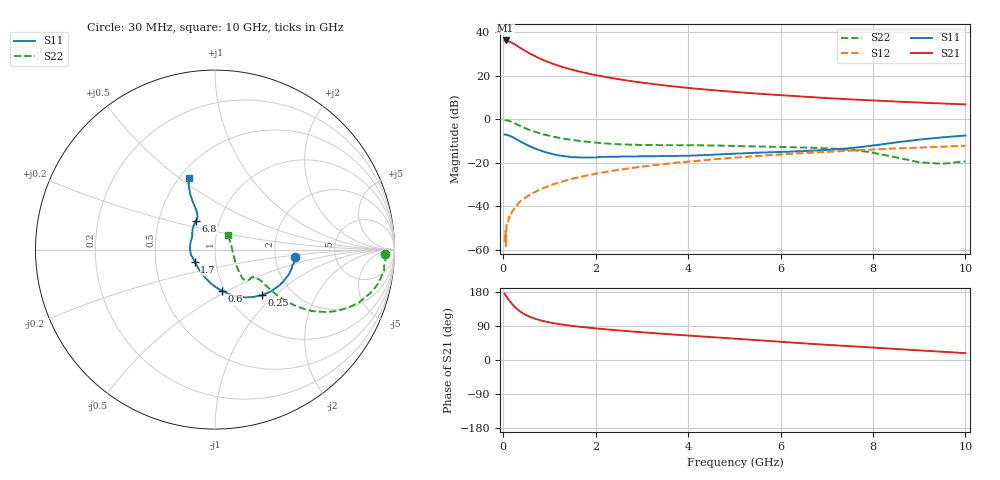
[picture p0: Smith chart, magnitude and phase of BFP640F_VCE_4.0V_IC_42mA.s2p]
! Infineon Technologies  Discrete & RF Semiconductors
! BFP640F
! VCE =  4.0 V,  IC =  42 mA
! Common Emitter S-Parameters:  Apr 2013
# GHz  S  MA  R  50
!  f  S11  S21  S12  S22
! GHz  MAG  ANG  MAG  ANG  MAG  ANG  MAG  ANG
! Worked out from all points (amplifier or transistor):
!   99 points, 30 MHz to 10 GHz, reference 50 ohm
!   highest |S21| = 36.3 dB at 50 MHz (marker M1)
!   |S21| within 3 dB of that: start of sweep to 338.1 MHz
!   unconditionally stable (mu >= 1): 1.565 GHz to end of sweep
!   at 350 MHz: K = 0.59, MSG = 35.6 dB, |S12| = -38.1 dB
!   at 3.5 GHz: K = 1.06, MAG = 16.6 dB, |S12| = -20.6 dB
!   at 10 GHz: K = 1.04, MAG = 8.3 dB, |S12| = -12.2 dB
!   S11 on the Smith chart (normalised r, x): 30 MHz: 2.58, -0.28; 250 MHz: 1.42, -0.83; 600 MHz: 0.97, -0.47; 1.7 GHz: 0.79, -0.11; 6.8 GHz: 0.77, +0.26; 10 GHz: 0.56, +0.54
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0.03  0.4475 -5.6  65.08 174.6  0.0015 56.6  0.9477 -1.5
0.05  0.4454 -10.4  65.15 171.2  0.0027 36.2  0.9506 -4.5
0.1  0.432 -19.4  63.19 162.3  0.0042 74.6  0.9341 -10.6
0.15  0.4123 -28.6  60.24 154.1  0.0058 75.1  0.8963 -15.9
0.2  0.3885 -36.9  56.65 146.7  0.0078 76.4  0.8524 -20.4
0.25  0.3648 -44.1  52.76 140.2  0.0089 77.2  0.8042 -23.9
0.3  0.3399 -50.9  48.97 134.5  0.0106 74.9  0.7591 -26.8
0.4  0.2967 -62.4  41.97 125.3  0.0136 75.2  0.6758 -30.8
0.5  0.2613 -72.0  36.19 118.4  0.0162 74.8  0.6086 -33.3
0.6  0.2324 -80.7  31.56 112.9  0.019 74.8  0.5542 -34.8
0.7  0.21 -88.5  27.83 108.5  0.0216 74.1  0.5098 -35.6
0.8  0.1918 -96.0  24.78 104.9  0.0244 74.6  0.4729 -36.1
1  0.165 -109.7  20.25 99.2  0.0296 74.3  0.4162 -36.2
1.3  0.1422 -128.2  15.8 93.1  0.0374 73.4  0.3589 -35.4
1.7  0.1317 -149.0  12.19 87.1  0.0481 72.1  0.3132 -34.1
2.4  0.1376 -174.2  8.698 79.1  0.0661 69.0  0.2696 -35.1
3.4  0.1423 162.3  6.18 69.7  0.0911 64.1  0.2536 -38.8
5.1  0.1628 140.4  4.186 55.6  0.1331 55.1  0.2419 -44.6
6.7  0.1899 124.3  3.219 42.4  0.1709 46.0  0.2201 -46.5
6.8  0.192 123.3  3.17 41.7  0.1733 45.4  0.2185 -46.3
8.5  0.2934 114.9  2.561 29.1  0.2129 35.7  0.1328 -31.6
10  0.4229 110.3  2.2 18.1  0.2455 26.9  0.1072 48.0
